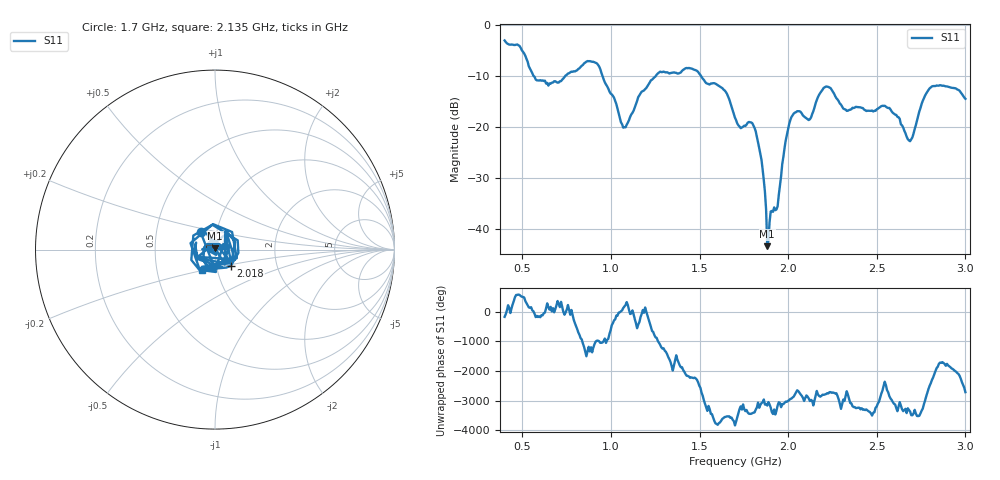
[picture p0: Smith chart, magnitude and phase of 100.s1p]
!Created with skrf (http://scikit-rf.org).
# Hz S RI R 50.0
!freq ReS11 ImS11
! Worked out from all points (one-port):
!   401 points, 400 MHz to 3 GHz, reference 50 ohm
!   lowest |S11| = -43.3 dB at 1.882 GHz (marker M1), VSWR 1.01, Z = 50.1 + j0.67 ohm
!   |S11| at or under -10 dB: 566.5 MHz to 740.3 MHz (173.8 MHz wide, 26.6 % of centre); 953.2 MHz to 1.252 GHz (298.4 MHz wide, 27.1 % of centre); 1.51 GHz to end of sweep
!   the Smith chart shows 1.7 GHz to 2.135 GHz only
!   S11 on the Smith chart (normalised r, x): 1.7 GHz: 0.84, +0.16; 2.018 GHz: 1.17, -0.21; 2.135 GHz: 0.85, -0.20
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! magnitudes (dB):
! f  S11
! 400 MHz  -2.9
! 484.5 MHz  -4.0
! 582 MHz  -10.8
! 725 MHz  -10.6
! 913.5 MHz  -7.3
! 1.05 GHz  -18.2
! 1.083 GHz  -20.0
! 1.264 GHz  -9.4
! 1.375 GHz  -9.4
! 1.453 GHz  -8.5
! 1.615 GHz  -12.0
! 1.7 GHz  -18.1
! 1.81 GHz  -20.1
! 1.849 GHz  -26.4
! 1.882 GHz  -43.3
! 1.895 GHz  -38.7
! 1.94 GHz  -35.5
! 1.986 GHz  -22.6
! 2.018 GHz  -18.0
! 2.025 GHz  -17.6
! 2.135 GHz  -17.4
! 2.213 GHz  -12.0
! 2.35 GHz  -16.5
! 2.558 GHz  -16.1
! 2.675 GHz  -22.3
! 2.701 GHz  -22.0
! 2.805 GHz  -12.2
! 3 GHz  -14.4
